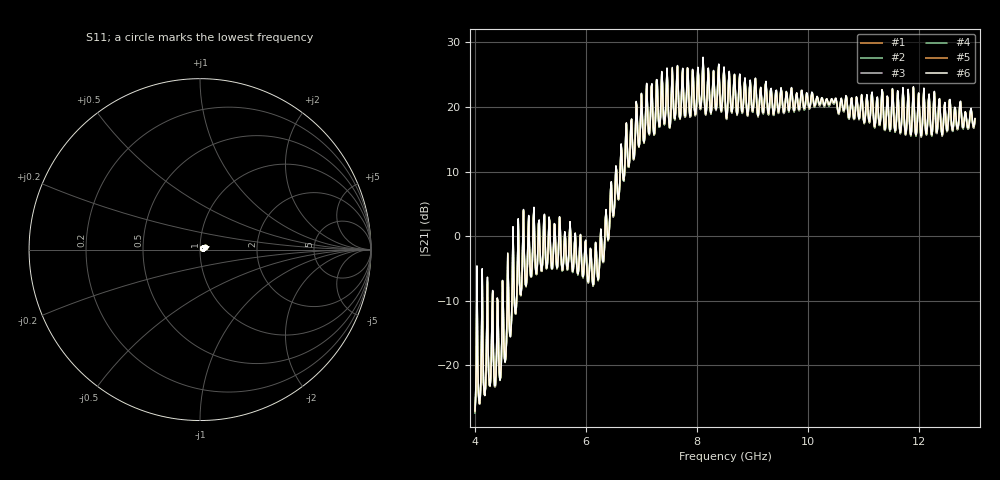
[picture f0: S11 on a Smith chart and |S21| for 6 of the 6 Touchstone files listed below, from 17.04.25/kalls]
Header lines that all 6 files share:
! Micran, Research & Production Company
! Frequency	S11	S21	S12	S22
# Hz S dB R 50
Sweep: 4 GHz to 13 GHz
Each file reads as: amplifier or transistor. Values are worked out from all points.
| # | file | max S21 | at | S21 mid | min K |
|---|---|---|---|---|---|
| 1 | kalls_-15.s2p | 27.3 dB | 8.105 GHz | 20.5 dB at 8.506 GHz | 1.16 |
| 2 | kalls_-16.s2p | 27.4 dB | 8.105 GHz | 20.5 dB at 8.506 GHz | 1.19 |
| 3 | kalls_-17.s2p | 27.5 dB | 8.105 GHz | 20.6 dB at 8.506 GHz | 1.09 |
| 4 | kalls_-18.s2p | 27.5 dB | 8.105 GHz | 20.6 dB at 8.506 GHz | 1.34 |
| 5 | kalls_-19.s2p | 27.6 dB | 8.105 GHz | 20.7 dB at 8.506 GHz | 1.34 |
| 6 | kalls_-20.s2p | 27.7 dB | 8.105 GHz | 20.7 dB at 8.506 GHz | 1.00 |
